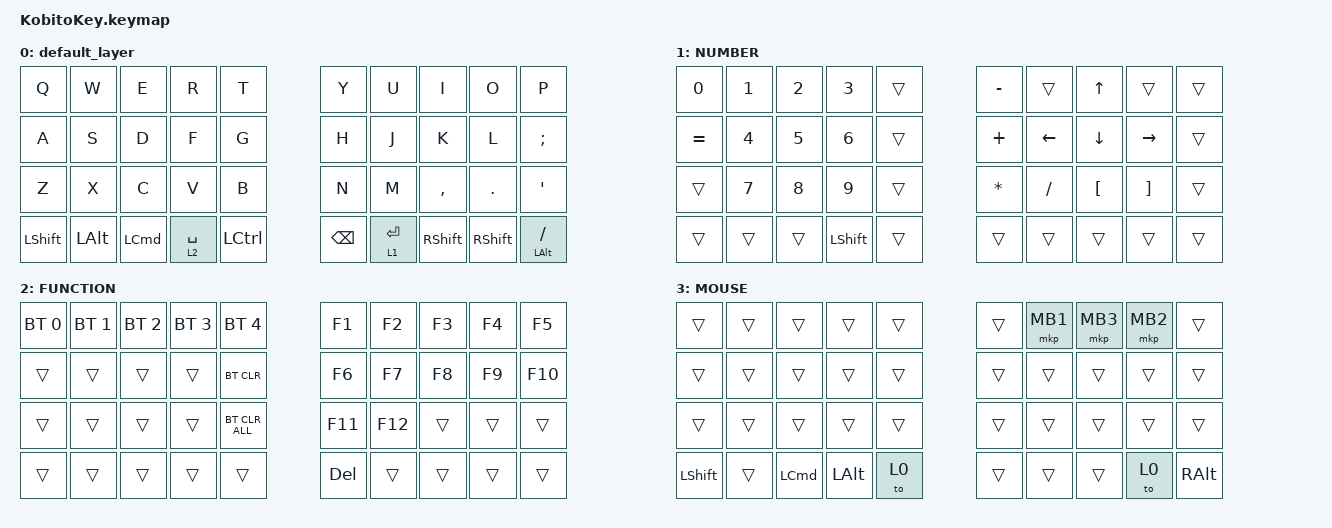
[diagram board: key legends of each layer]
#include <behaviors.dtsi>
#include <dt-bindings/zmk/bt.h>
#include <dt-bindings/zmk/keys.h>
#include <dt-bindings/zmk/pointing.h>
#include <input/processors.dtsi>

/*
 * KobitoKey のキーマップ定義。
 * config 配下で編集し、boards/shields 側は include のみにしています。
 */

 / { 
        combos {
        /* ことえり切り替えや補助キーを 2キー同時押しで呼び出す */
        compatible = "zmk,combos";

        combo_eisu {
            timeout-ms = <50>;
            key-positions = <12 13>;
            bindings = <&kp LANG2>;
        };

        combo_kana {
            timeout-ms = <50>;
            key-positions = <16 17>;
            bindings = <&kp LANG1>;
        };
        
         combo_esc {
            timeout-ms = <50>;
            key-positions = <0 1>;
            bindings = <&kp ESC>;
        };

         combo_tab {
            timeout-ms = <50>;
            key-positions = <10 11>;
            bindings = <&kp TAB>;
        };        
    };


        keymap {
        compatible = "zmk,keymap";

        /* レイヤー0: QWERTY ベースレイヤー */
        default_layer {
            bindings = <
                &kp Q       &kp W      &kp E      &kp R           &kp T                    &kp Y            &kp U           &kp I        &kp O      &kp P
                &kp A       &kp S      &kp D      &kp F           &kp G                    &kp H            &kp J           &kp K        &kp L      &kp SEMI
                &kp Z       &kp X      &kp C      &kp V           &kp B                    &kp N            &kp M           &kp COMMA    &kp DOT    &kp APOS
                &kp LSHFT   &kp LALT   &kp LCMD   &lt 2 SPACE     &kp LCTRL                &kp BSPC         &lt 1 ENTER     &kp RSHFT    &kp RSHFT  &mt LALT SLASH
            >;
        };

        /* レイヤー1: 数字・矢印などの補助キー */
        layer1 {
            display-name = "NUMBER";
            bindings = <
                &kp N0    &kp N1   &kp N2   &kp N3      &trans          &kp MINUS   &trans       &kp UP         &trans       &trans
                &kp EQUAL &kp N4   &kp N5   &kp N6      &trans          &kp PLUS    &kp LEFT     &kp DOWN       &kp RIGHT    &trans
                &trans    &kp N7   &kp N8   &kp N9      &trans          &kp ASTRK   &kp SLASH    &kp LBKT       &kp RBKT     &trans
                &trans    &trans   &trans   &kp LSHFT   &trans          &trans      &trans       &trans         &trans       &trans
            >;
        };

        /* レイヤー2: Bluetooth 管理とファンクションキー */
        layer2 {
            display-name = "FUNCTION";
            bindings = <
                &bt BT_SEL 0   &bt BT_SEL 1   &bt BT_SEL 2   &bt BT_SEL 3   &bt BT_SEL 4          &kp F1        &kp F2       &kp F3      &kp F4     &kp F5
                &trans         &trans         &trans         &trans         &bt BT_CLR            &kp F6        &kp F7       &kp F8      &kp F9     &kp F10
                &trans         &trans         &trans         &trans         &bt BT_CLR_ALL        &kp F11       &kp F12      &trans      &trans     &trans
                &trans         &trans         &trans         &trans         &trans                &kp DEL       &trans       &trans      &trans     &trans
            >;
        };

        /* レイヤー3: トラックボール利用時のマウスキー */
        layer3 {
            display-name = "MOUSE";
            bindings = <
                &trans      &trans   &trans     &trans      &trans           &trans   &mkp MB1   &mkp MB3   &mkp MB2  &trans
                &trans      &trans   &trans     &trans      &trans           &trans   &trans     &trans     &trans    &trans
                &trans      &trans   &trans     &trans      &trans           &trans   &trans     &trans     &trans    &trans
                &kp LSHFT   &trans   &kp LCMD   &kp LALT    &to 0            &trans   &trans     &trans     &to 0     &kp RALT
            >;
        };
    };

};
